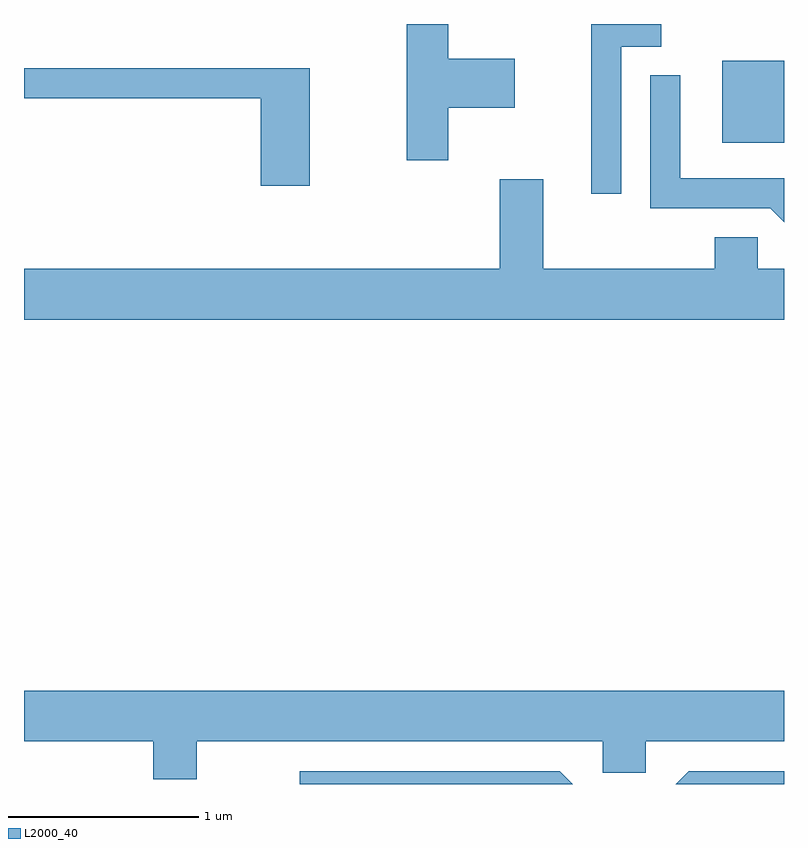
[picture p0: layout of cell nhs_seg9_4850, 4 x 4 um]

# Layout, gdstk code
import gdstk
lib = gdstk.Library(unit=1e-6, precision=1e-09)
def R(c, l, rs):  # rectangles x0, y0, x1, y1
    for r in rs: c.add(gdstk.rectangle(r[:2], r[2:], *l))
def P(c, l, *ps):  # polygons
    for p in ps: c.add(gdstk.Polygon(p, *l))
L2000_40 = (2000, 40)

nhs_seg9_4850 = lib.new_cell('nhs_seg9_4850')
R(nhs_seg9_4850, L2000_40, [(331.286,2043.806,331.611,2044.239)])
P(nhs_seg9_4850, L2000_40, [(329.844,2043.991),(330.194,2043.991),(330.194,2044.249),(329.844,2044.249),(329.844,2044.432),(329.626,2044.432),(329.626,2043.716),(329.844,2043.716)],
  [(330.754,2044.311),(330.964,2044.311),(330.964,2044.432),(330.596,2044.432),(330.596,2043.538),(330.754,2043.538)],
  [(329.114,2044.199),(327.611,2044.199),(327.611,2044.041),(328.856,2044.041),(328.856,2043.581),(329.114,2043.581)],
  [(331.611,2043.619),(331.064,2043.619),(331.064,2044.163),(330.906,2044.163),(330.906,2043.461),(331.539,2043.461),(331.611,2043.389)],
  [(331.611,2043.144),(331.474,2043.144),(331.474,2043.309),(331.246,2043.309),(331.246,2043.144),(330.344,2043.144),(330.344,2043.614),(330.116,2043.614),(330.116,2043.144),(327.611,2043.144),(327.611,2042.876),(331.611,2042.876)],
  [(328.519,2040.656),(330.656,2040.656),(330.656,2040.491),(330.884,2040.491),(330.884,2040.656),(331.611,2040.656),(331.611,2040.924),(327.611,2040.924),(327.611,2040.656),(328.291,2040.656),(328.291,2040.456),(328.519,2040.456)],
  [(331.611,2040.499),(331.109,2040.499),(331.042,2040.432),(331.611,2040.432)],
  [(330.432,2040.499),(329.061,2040.499),(329.061,2040.432),(330.499,2040.432)])

lib.write_gds('nhs_seg9_4850.gds')
